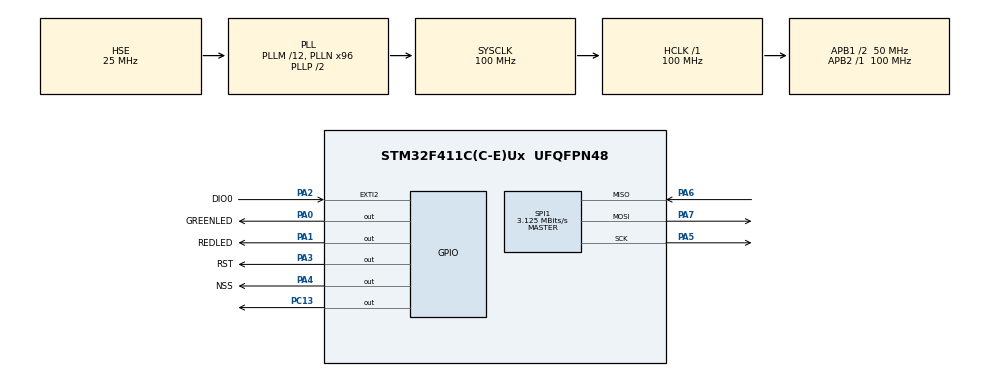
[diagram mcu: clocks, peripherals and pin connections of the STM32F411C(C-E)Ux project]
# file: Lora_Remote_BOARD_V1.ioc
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Mcu.Family=STM32F4
Mcu.Name=STM32F411C(C-E)Ux
Mcu.Package=UFQFPN48
NVIC.EXTI2_IRQn=true\:0\:0\:false\:false\:true\:true\:true\:true
NVIC.PriorityGroup=NVIC_PRIORITYGROUP_4
NVIC.TIM4_IRQn=true\:0\:0\:false\:false\:true\:true\:true\:true
PA0-WKUP.GPIO_Label=GREENLED
PA0-WKUP.Signal=GPIO_Output
PA1.GPIO_Label=REDLED
PA1.Signal=GPIO_Output
PA13.Mode=Serial_Wire
PA13.Signal=SYS_JTMS-SWDIO
PA14.Mode=Serial_Wire
PA14.Signal=SYS_JTCK-SWCLK
PA2.GPIO_Label=DIO0
PA2.Signal=GPXTI2
PA3.GPIO_Label=RST
PA3.PinState=GPIO_PIN_SET
PA3.Signal=GPIO_Output
PA4.GPIO_Label=NSS
PA4.PinState=GPIO_PIN_SET
PA4.Signal=GPIO_Output
PA5.Mode=Full_Duplex_Master
PA5.Signal=SPI1_SCK
PA6.Mode=Full_Duplex_Master
PA6.Signal=SPI1_MISO
PA7.Mode=Full_Duplex_Master
PA7.Signal=SPI1_MOSI
PC13-ANTI_TAMP.Signal=GPIO_Output
PH0\ -\ OSC_IN.Mode=HSE-External-Oscillator
PH0\ -\ OSC_IN.Signal=RCC_OSC_IN
PH1\ -\ OSC_OUT.Mode=HSE-External-Oscillator
PH1\ -\ OSC_OUT.Signal=RCC_OSC_OUT
ProjectManager.HeapSize=0x200
ProjectManager.StackSize=0x400
ProjectManager.TargetToolchain=STM32CubeIDE
RCC.48MHZClocksFreq_Value=50000000
RCC.AHBFreq_Value=100000000
RCC.APB1CLKDivider=RCC_HCLK_DIV2
RCC.APB1Freq_Value=50000000
RCC.APB1TimFreq_Value=100000000
RCC.APB2Freq_Value=100000000
RCC.APB2TimFreq_Value=100000000
RCC.CortexFreq_Value=100000000
RCC.HCLKFreq_Value=100000000
RCC.HSE_VALUE=25000000
RCC.HSI_VALUE=16000000
RCC.LSE_VALUE=32768
RCC.PLLM=12
RCC.PLLN=96
RCC.PLLSourceVirtual=RCC_PLLSOURCE_HSE
RCC.SYSCLKFreq_VALUE=100000000
RCC.SYSCLKSource=RCC_SYSCLKSOURCE_PLLCLK
RCC.VCOOutputFreq_Value=200000000
SPI1.BaudRatePrescaler=SPI_BAUDRATEPRESCALER_32
SPI1.CalculateBaudRate=3.125 MBits/s
SPI1.Direction=SPI_DIRECTION_2LINES
SPI1.Mode=SPI_MODE_MASTER
SPI1.VirtualType=VM_MASTER
TIM4.AutoReloadPreload=TIM_AUTORELOAD_PRELOAD_ENABLE
TIM4.Period=0xffff-1
TIM4.Prescaler=1600-1
VP_TIM4_VS_ClockSourceINT.Mode=Internal
board=custom

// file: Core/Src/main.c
/* USER CODE BEGIN Header */
/**
  ******************************************************************************
  * @file           : main.c
  * @brief          : Main program body
  ******************************************************************************
  * @attention
  *
  * Copyright (c) 2024 STMicroelectronics.
  * All rights reserved.
  *
  * This software is licensed under terms that can be found in the LICENSE file
  * in the root directory of this software component.
  * If no LICENSE file comes with this software, it is provided AS-IS.
  *
  ******************************************************************************
  */
/* USER CODE END Header */
#include "main.h"

/* USER CODE BEGIN Includes */

#include "stm32_adafruit_lcd.h"
#include "lcd.h"

#include "LoRa.h"

/* USER CODE END Includes */

SPI_HandleTypeDef hspi1;

TIM_HandleTypeDef htim4;

/* USER CODE BEGIN PV */

uint8_t test_buffer[32] = "hello how are yoy";

float last_x;

LoRa myLoRa;

uint16_t LoRa_stat = 0;

uint8_t TxBuffer[128];
uint8_t RxBuffer[128];

uint8_t check_connectivity_tick = 0;

uint8_t console_line_0[32];
uint8_t console_line_1[32];
uint8_t console_line_2[32];
uint8_t console_line_3[32];
uint8_t console_line_4[32];
uint8_t console_line_5[32];
uint8_t console_line_6[32];
uint8_t console_line_7[32];
uint8_t console_line_8[32];
uint8_t console_line_9[32];
uint8_t console_line_10[32];
uint8_t console_line_11[32];
uint8_t console_line_12[32];
uint8_t console_line_13[32];
uint8_t console_line_14[32];
uint8_t console_line_15[32];
uint8_t console_line_16[32];
uint8_t console_line_17[32];
uint8_t console_line_18[32];
uint8_t console_line_19[32];

uint8_t last_buffer[32];

/* USER CODE END PV */

void SystemClock_Config(void);
static void MX_GPIO_Init(void);
static void MX_SPI1_Init(void);
static void MX_TIM4_Init(void);

/* USER CODE BEGIN 0 */

void HAL_TIM_PeriodElapsedCallback(TIM_HandleTypeDef *htim)
{
 if(htim->Instance == TIM4)
	{
	 	 check_connectivity_tick = 255;
	}
}

void HAL_GPIO_EXTI_Callback(uint16_t GPIO_Pin)
{
	if(GPIO_Pin == myLoRa.DIO0_pin){
		LoRa_receive(&myLoRa, RxBuffer, 128);
		HAL_GPIO_TogglePin(GREENLED_GPIO_Port, GREENLED_Pin);

	}
}

/* USER CODE END 0 */

int main(void)
{

  /* MCU Configuration--------------------------------------------------------*/

  /* Reset of all peripherals, Initializes the Flash interface and the Systick. */
  HAL_Init();

  /* Configure the system clock */
  SystemClock_Config();

  /* Initialize all configured peripherals */
  MX_GPIO_Init();
  MX_SPI1_Init();
  MX_TIM4_Init();
  /* USER CODE BEGIN 2 */

  HAL_TIM_Base_Start_IT(&htim4);

  BSP_LCD_Init();

  myLoRa = newLoRa();

  myLoRa.CS_port         = NSS_GPIO_Port;
  myLoRa.CS_pin          = NSS_Pin;
  myLoRa.reset_port      = RST_GPIO_Port;
  myLoRa.reset_pin       = RST_Pin;
  myLoRa.DIO0_port       = DIO0_GPIO_Port;
  myLoRa.DIO0_pin        = DIO0_Pin;
  myLoRa.hSPIx           = &hspi1;

  myLoRa.frequency             = 433;             // default = 433 MHz
  myLoRa.spredingFactor        = SF_7;            // default = SF_7
  myLoRa.bandWidth             = BW_125KHz;       // default = BW_125KHz
  myLoRa.crcRate               = CR_4_5;          // default = CR_4_5
  myLoRa.power                 = POWER_20db;      // default = 20db
  myLoRa.overCurrentProtection = 100;             // default = 100 mA
  myLoRa.preamble              = 8;              // default = 8;

  if(LoRa_init(&myLoRa) == LORA_OK){
	  LoRa_stat = 1;
  }

  LoRa_startReceiving(&myLoRa);

  TxBuffer[0] = 45;
  TxBuffer[1] = 0xF2;
  TxBuffer[2] = 'G';

  LoRa_transmit(&myLoRa, TxBuffer, 3, 500);

  /* USER CODE END 2 */

  /* Infinite loop */
  /* USER CODE BEGIN WHILE */

  BSP_LCD_Clear(0x0);

  //HAL_GPIO_TogglePin(REDLED_GPIO_Port, REDLED_Pin);

  while (1)
  {

	  if(check_connectivity_tick == 255){
		  TxBuffer[0] = 0xAA;
		  TxBuffer[1] = 0xBB;
		  TxBuffer[2] = 0xCC;
		  if(LoRa_transmit(&myLoRa, TxBuffer, 3, 500) == 1){
			  HAL_GPIO_TogglePin(REDLED_GPIO_Port, REDLED_Pin);
		  }
		  check_connectivity_tick = 0;
	  }

	  BSP_LCD_SetFont(&Font16);

	  BSP_LCD_SetTextColor(LCD_COLOR_GREEN);

	  //BSP_LCD_DisplayStringAt(10, 10, test_buffer, CENTER_MODE);

    /* USER CODE END WHILE */

  }
}

void SystemClock_Config(void)
{
  RCC_OscInitTypeDef RCC_OscInitStruct = {0};
  RCC_ClkInitTypeDef RCC_ClkInitStruct = {0};

  /** Configure the main internal regulator output voltage
  */
  __HAL_RCC_PWR_CLK_ENABLE();
  __HAL_PWR_VOLTAGESCALING_CONFIG(PWR_REGULATOR_VOLTAGE_SCALE1);

  /** Initializes the RCC Oscillators according to the specified parameters
  * in the RCC_OscInitTypeDef structure.
  */
  RCC_OscInitStruct.OscillatorType = RCC_OSCILLATORTYPE_HSE;
  RCC_OscInitStruct.HSEState = RCC_HSE_ON;
  RCC_OscInitStruct.PLL.PLLState = RCC_PLL_ON;
  RCC_OscInitStruct.PLL.PLLSource = RCC_PLLSOURCE_HSE;
  RCC_OscInitStruct.PLL.PLLM = 12;
  RCC_OscInitStruct.PLL.PLLN = 96;
  RCC_OscInitStruct.PLL.PLLP = RCC_PLLP_DIV2;
  RCC_OscInitStruct.PLL.PLLQ = 4;
  if (HAL_RCC_OscConfig(&RCC_OscInitStruct) != HAL_OK)
  {
    Error_Handler();
  }

  /** Initializes the CPU, AHB and APB buses clocks
  */
  RCC_ClkInitStruct.ClockType = RCC_CLOCKTYPE_HCLK|RCC_CLOCKTYPE_SYSCLK
                              |RCC_CLOCKTYPE_PCLK1|RCC_CLOCKTYPE_PCLK2;
  RCC_ClkInitStruct.SYSCLKSource = RCC_SYSCLKSOURCE_PLLCLK;
  RCC_ClkInitStruct.AHBCLKDivider = RCC_SYSCLK_DIV1;
  RCC_ClkInitStruct.APB1CLKDivider = RCC_HCLK_DIV2;
  RCC_ClkInitStruct.APB2CLKDivider = RCC_HCLK_DIV1;

  if (HAL_RCC_ClockConfig(&RCC_ClkInitStruct, FLASH_LATENCY_3) != HAL_OK)
  {
    Error_Handler();
  }
}

static void MX_SPI1_Init(void)
{

  /* SPI1 parameter configuration*/
  hspi1.Instance = SPI1;
  hspi1.Init.Mode = SPI_MODE_MASTER;
  hspi1.Init.Direction = SPI_DIRECTION_2LINES;
  hspi1.Init.DataSize = SPI_DATASIZE_8BIT;
  hspi1.Init.CLKPolarity = SPI_POLARITY_LOW;
  hspi1.Init.CLKPhase = SPI_PHASE_1EDGE;
  hspi1.Init.NSS = SPI_NSS_SOFT;
  hspi1.Init.BaudRatePrescaler = SPI_BAUDRATEPRESCALER_32;
  hspi1.Init.FirstBit = SPI_FIRSTBIT_MSB;
  hspi1.Init.TIMode = SPI_TIMODE_DISABLE;
  hspi1.Init.CRCCalculation = SPI_CRCCALCULATION_DISABLE;
  hspi1.Init.CRCPolynomial = 10;
  if (HAL_SPI_Init(&hspi1) != HAL_OK)
  {
    Error_Handler();
  }

}

static void MX_TIM4_Init(void)
{

  TIM_ClockConfigTypeDef sClockSourceConfig = {0};
  TIM_MasterConfigTypeDef sMasterConfig = {0};

  htim4.Instance = TIM4;
  htim4.Init.Prescaler = 1600-1;
  htim4.Init.CounterMode = TIM_COUNTERMODE_UP;
  htim4.Init.Period = 0xffff-1;
  htim4.Init.ClockDivision = TIM_CLOCKDIVISION_DIV1;
  htim4.Init.AutoReloadPreload = TIM_AUTORELOAD_PRELOAD_ENABLE;
  if (HAL_TIM_Base_Init(&htim4) != HAL_OK)
  {
    Error_Handler();
  }
  sClockSourceConfig.ClockSource = TIM_CLOCKSOURCE_INTERNAL;
  if (HAL_TIM_ConfigClockSource(&htim4, &sClockSourceConfig) != HAL_OK)
  {
    Error_Handler();
  }
  sMasterConfig.MasterOutputTrigger = TIM_TRGO_RESET;
  sMasterConfig.MasterSlaveMode = TIM_MASTERSLAVEMODE_DISABLE;
  if (HAL_TIMEx_MasterConfigSynchronization(&htim4, &sMasterConfig) != HAL_OK)
  {
    Error_Handler();
  }

}

static void MX_GPIO_Init(void)
{
  GPIO_InitTypeDef GPIO_InitStruct = {0};

  /* GPIO Ports Clock Enable */
  __HAL_RCC_GPIOC_CLK_ENABLE();
  __HAL_RCC_GPIOH_CLK_ENABLE();
  __HAL_RCC_GPIOA_CLK_ENABLE();

  /*Configure GPIO pin Output Level */
  HAL_GPIO_WritePin(GPIOC, GPIO_PIN_13, GPIO_PIN_RESET);

  /*Configure GPIO pin Output Level */
  HAL_GPIO_WritePin(GPIOA, GREENLED_Pin|REDLED_Pin, GPIO_PIN_RESET);

  /*Configure GPIO pin Output Level */
  HAL_GPIO_WritePin(GPIOA, RST_Pin|NSS_Pin, GPIO_PIN_SET);

  /*Configure GPIO pin : PC13 */
  GPIO_InitStruct.Pin = GPIO_PIN_13;
  GPIO_InitStruct.Mode = GPIO_MODE_OUTPUT_PP;
  GPIO_InitStruct.Pull = GPIO_NOPULL;
  GPIO_InitStruct.Speed = GPIO_SPEED_FREQ_LOW;
  HAL_GPIO_Init(GPIOC, &GPIO_InitStruct);

  /*Configure GPIO pins : GREENLED_Pin REDLED_Pin RST_Pin NSS_Pin */
  GPIO_InitStruct.Pin = GREENLED_Pin|REDLED_Pin|RST_Pin|NSS_Pin;
  GPIO_InitStruct.Mode = GPIO_MODE_OUTPUT_PP;
  GPIO_InitStruct.Pull = GPIO_NOPULL;
  GPIO_InitStruct.Speed = GPIO_SPEED_FREQ_LOW;
  HAL_GPIO_Init(GPIOA, &GPIO_InitStruct);

  /*Configure GPIO pin : DIO0_Pin */
  GPIO_InitStruct.Pin = DIO0_Pin;
  GPIO_InitStruct.Mode = GPIO_MODE_IT_RISING;
  GPIO_InitStruct.Pull = GPIO_NOPULL;
  HAL_GPIO_Init(DIO0_GPIO_Port, &GPIO_InitStruct);

  /* EXTI interrupt init*/
  HAL_NVIC_SetPriority(EXTI2_IRQn, 0, 0);
  HAL_NVIC_EnableIRQ(EXTI2_IRQn);

}

void Error_Handler(void)
{
  __disable_irq();
  while (1)
  {
  }
}
